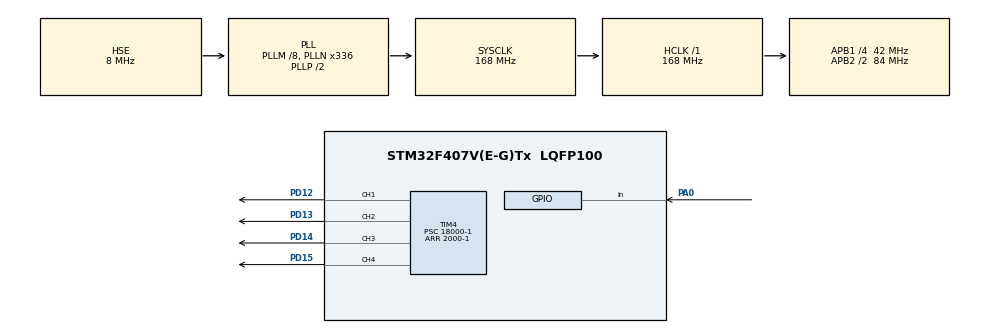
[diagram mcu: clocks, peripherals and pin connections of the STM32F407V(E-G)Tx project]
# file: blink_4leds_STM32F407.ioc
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Mcu.Family=STM32F4
Mcu.Name=STM32F407V(E-G)Tx
Mcu.Package=LQFP100
NVIC.PriorityGroup=NVIC_PRIORITYGROUP_0
PA0-WKUP.Signal=GPIO_Input
PD12.Signal=S_TIM4_CH1
PD13.Signal=S_TIM4_CH2
PD14.Signal=S_TIM4_CH3
PD15.Signal=S_TIM4_CH4
PH0-OSC_IN.Mode=HSE-External-Oscillator
PH0-OSC_IN.Signal=RCC_OSC_IN
PH1-OSC_OUT.Mode=HSE-External-Oscillator
PH1-OSC_OUT.Signal=RCC_OSC_OUT
ProjectManager.HeapSize=0x200
ProjectManager.StackSize=0x400
ProjectManager.TargetToolchain=STM32CubeIDE
RCC.48MHZClocksFreq_Value=48000000
RCC.AHBFreq_Value=168000000
RCC.APB1CLKDivider=RCC_HCLK_DIV4
RCC.APB1Freq_Value=42000000
RCC.APB1TimFreq_Value=84000000
RCC.APB2CLKDivider=RCC_HCLK_DIV2
RCC.APB2Freq_Value=84000000
RCC.APB2TimFreq_Value=168000000
RCC.CortexFreq_Value=168000000
RCC.HCLKFreq_Value=168000000
RCC.HSE_VALUE=8000000
RCC.HSI_VALUE=16000000
RCC.PLLM=8
RCC.PLLN=336
RCC.PLLQ=7
RCC.PLLSourceVirtual=RCC_PLLSOURCE_HSE
RCC.SYSCLKFreq_VALUE=168000000
RCC.SYSCLKSource=RCC_SYSCLKSOURCE_PLLCLK
RCC.VCOOutputFreq_Value=336000000
SH.S_TIM4_CH1.0=TIM4_CH1,PWM Generation1 CH1
SH.S_TIM4_CH2.0=TIM4_CH2,PWM Generation2 CH2
SH.S_TIM4_CH3.0=TIM4_CH3,PWM Generation3 CH3
SH.S_TIM4_CH4.0=TIM4_CH4,PWM Generation4 CH4
TIM4.Channel-PWM\ Generation1\ CH1=TIM_CHANNEL_1
TIM4.Channel-PWM\ Generation2\ CH2=TIM_CHANNEL_2
TIM4.Channel-PWM\ Generation3\ CH3=TIM_CHANNEL_3
TIM4.Channel-PWM\ Generation4\ CH4=TIM_CHANNEL_4
TIM4.Period=2000-1
TIM4.Prescaler=18000-1
TIM4.Pulse-PWM\ Generation1\ CH1=1000
TIM4.Pulse-PWM\ Generation2\ CH2=1000
TIM4.Pulse-PWM\ Generation3\ CH3=1000
TIM4.Pulse-PWM\ Generation4\ CH4=1000
VP_TIM4_VS_ClockSourceINT.Mode=Internal
board=STM32F407G-DISC1

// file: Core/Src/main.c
/* USER CODE BEGIN Header */
/**
  ******************************************************************************
  * @file           : main.c
  * @brief          : Main program body
  ******************************************************************************
  * @attention
  *
  * <h2><center>&copy; Copyright (c) 2020 STMicroelectronics.
  * All rights reserved.</center></h2>
  *
  * This software component is licensed by ST under Ultimate Liberty license
  * SLA0044, the "License"; You may not use this file except in compliance with
  * the License. You may obtain a copy of the License at:
  *                             www.st.com/SLA0044
  *
  ******************************************************************************
  */
/* USER CODE END Header */

#include "main.h"
#include "tim.h"
#include "gpio.h"

/* USER CODE BEGIN PV */
uint8_t boton;
uint8_t last_boton = 0;
uint8_t flag_led =0;
uint8_t state = 1;
/* USER CODE END PV */

void SystemClock_Config(void);

int main(void)
{

  /* MCU Configuration--------------------------------------------------------*/

  /* Reset of all peripherals, Initializes the Flash interface and the Systick. */
  HAL_Init();

  /* Configure the system clock */
  SystemClock_Config();

  /* Initialize all configured peripherals */
  MX_GPIO_Init();
  MX_TIM4_Init();
  /* USER CODE BEGIN 2 */
  HAL_TIM_Base_Start(&htim4);
  HAL_TIM_PWM_Start(&htim4, TIM_CHANNEL_1);
  /* USER CODE END 2 */

  /* Infinite loop */
  /* USER CODE BEGIN WHILE */
  while (1)
  {
	  boton = HAL_GPIO_ReadPin(GPIOA, GPIO_PIN_0);

	  if (boton && !last_boton){
		  state++;
		  if (state == 5) state = 1;

		  switch (state){
		  	  case 1:
		  		  HAL_TIM_PWM_Start(&htim4, TIM_CHANNEL_1);
		  		  HAL_TIM_PWM_Stop(&htim4, TIM_CHANNEL_4);
			  break;
		  	  case 2:
		  		  HAL_TIM_PWM_Start(&htim4, TIM_CHANNEL_2);
		  		  HAL_TIM_PWM_Stop(&htim4, TIM_CHANNEL_1);
			  break;
		  	  case 3:
		  		  HAL_TIM_PWM_Start(&htim4, TIM_CHANNEL_3);
		  		  HAL_TIM_PWM_Stop(&htim4, TIM_CHANNEL_2);
			  break;
		  	  case 4:
		  		  HAL_TIM_PWM_Start(&htim4, TIM_CHANNEL_4);
		  		  HAL_TIM_PWM_Stop(&htim4, TIM_CHANNEL_3);
			  break;
		  }
	  }

	  last_boton = boton;

    /* USER CODE END WHILE */

  }
}

void SystemClock_Config(void)
{
  RCC_OscInitTypeDef RCC_OscInitStruct = {0};
  RCC_ClkInitTypeDef RCC_ClkInitStruct = {0};

  /** Configure the main internal regulator output voltage
  */
  __HAL_RCC_PWR_CLK_ENABLE();
  __HAL_PWR_VOLTAGESCALING_CONFIG(PWR_REGULATOR_VOLTAGE_SCALE1);
  /** Initializes the CPU, AHB and APB busses clocks
  */
  RCC_OscInitStruct.OscillatorType = RCC_OSCILLATORTYPE_HSE;
  RCC_OscInitStruct.HSEState = RCC_HSE_ON;
  RCC_OscInitStruct.PLL.PLLState = RCC_PLL_ON;
  RCC_OscInitStruct.PLL.PLLSource = RCC_PLLSOURCE_HSE;
  RCC_OscInitStruct.PLL.PLLM = 8;
  RCC_OscInitStruct.PLL.PLLN = 336;
  RCC_OscInitStruct.PLL.PLLP = RCC_PLLP_DIV2;
  RCC_OscInitStruct.PLL.PLLQ = 7;
  if (HAL_RCC_OscConfig(&RCC_OscInitStruct) != HAL_OK)
  {
    Error_Handler();
  }
  /** Initializes the CPU, AHB and APB busses clocks
  */
  RCC_ClkInitStruct.ClockType = RCC_CLOCKTYPE_HCLK|RCC_CLOCKTYPE_SYSCLK
                              |RCC_CLOCKTYPE_PCLK1|RCC_CLOCKTYPE_PCLK2;
  RCC_ClkInitStruct.SYSCLKSource = RCC_SYSCLKSOURCE_PLLCLK;
  RCC_ClkInitStruct.AHBCLKDivider = RCC_SYSCLK_DIV1;
  RCC_ClkInitStruct.APB1CLKDivider = RCC_HCLK_DIV4;
  RCC_ClkInitStruct.APB2CLKDivider = RCC_HCLK_DIV2;

  if (HAL_RCC_ClockConfig(&RCC_ClkInitStruct, FLASH_LATENCY_5) != HAL_OK)
  {
    Error_Handler();
  }
}

void Error_Handler(void)
{
}

/************************ (C) COPYRIGHT STMicroelectronics *****END OF FILE****/
